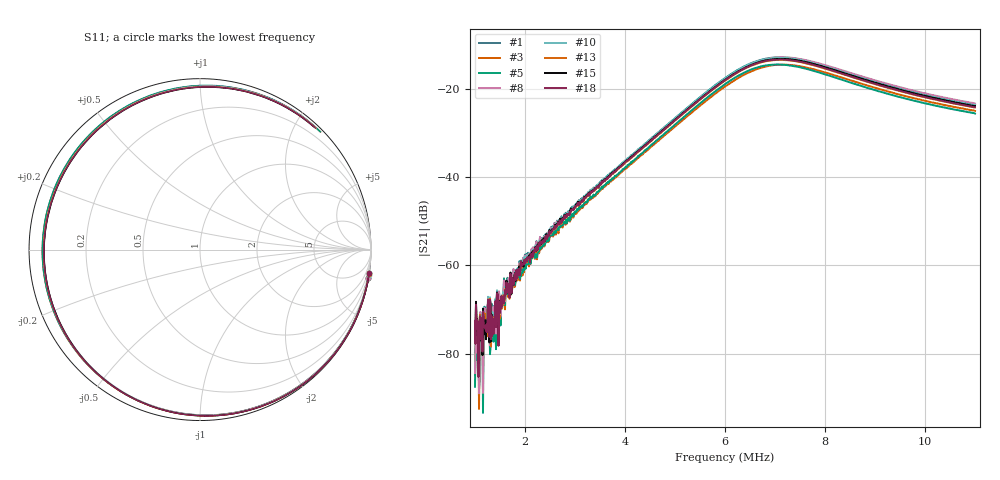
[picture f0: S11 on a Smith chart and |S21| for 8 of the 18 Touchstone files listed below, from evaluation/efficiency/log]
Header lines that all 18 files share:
# MHz S DB R 50
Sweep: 1 MHz to 11 MHz
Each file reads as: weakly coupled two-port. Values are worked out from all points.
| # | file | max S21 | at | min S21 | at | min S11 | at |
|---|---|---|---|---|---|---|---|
| 1 | 1.1.2.s2p | -12.90 dB | 7.12 MHz | -84.1 dB | 1.08 MHz | -0.8 dB | 7.03 MHz |
| 2 | 1.1.3.s2p | -13.93 dB | 7.12 MHz | -90.4 dB | 1.08 MHz | -0.7 dB | 7.04 MHz |
| 3 | 1.1.4.s2p | -14.55 dB | 7.12 MHz | -92.5 dB | 1.08 MHz | -0.7 dB | 6.99 MHz |
| 4 | 1.2.2.s2p | -12.51 dB | 7.04 MHz | -84.5 dB | 1.08 MHz | -0.8 dB | 6.94 MHz |
| 5 | 1.2.3.s2p | -14.52 dB | 7.07 MHz | -93.4 dB | 1.16 MHz | -0.7 dB | 6.94 MHz |
| 6 | 1.2.4.s2p | -15.79 dB | 7.04 MHz | -96.3 dB | 1.08 MHz | -0.7 dB | 6.92 MHz |
| 7 | 2.2.2.s2p | -13.11 dB | 7.15 MHz | -83.9 dB | 1.16 MHz | -0.8 dB | 7.01 MHz |
| 8 | 2.3.2.s2p | -12.89 dB | 7.16 MHz | -88.9 dB | 1.08 MHz | -0.8 dB | 7.05 MHz |
| 9 | 2.4.2.s2p | -15.13 dB | 7.21 MHz | -88.4 dB | 1.07 MHz | -0.7 dB | 7.25 MHz |
| 10 | 3.2.2.s2p | -13.03 dB | 7.06 MHz | -82.4 dB | 1.07 MHz | -0.8 dB | 7.04 MHz |
| 11 | 3.3.2.s2p | -12.19 dB | 7.11 MHz | -80.5 dB | 1.07 MHz | -0.9 dB | 7.08 MHz |
| 12 | 3.4.2.s2p | -13.78 dB | 7.13 MHz | -86.5 dB | 1.07 MHz | -0.8 dB | 7.04 MHz |
| 13 | 4.2.2.s2p | -13.48 dB | 7.11 MHz | -82.7 dB | 1.07 MHz | -0.8 dB | 7.05 MHz |
| 14 | 4.2.3.s2p | -16.91 dB | 7.47 MHz | -88.9 dB | 1.07 MHz | -0.7 dB | 8.02 MHz |
| 15 | 4.2.3.side.s2p | -13.25 dB | 7.13 MHz | -82.2 dB | 1.07 MHz | -0.8 dB | 7.15 MHz |
| 16 | 4.2.3.under.s2p | -12.87 dB | 7.11 MHz | -83.3 dB | 1.07 MHz | -0.8 dB | 7.05 MHz |
| 17 | 4.2.3.下.s2p | -12.87 dB | 7.08 MHz | -83.1 dB | 1.07 MHz | -0.8 dB | 7.05 MHz |
| 18 | 4.2.4.s2p | -13.41 dB | 7.11 MHz | -85.3 dB | 1.07 MHz | -0.8 dB | 7.08 MHz |
